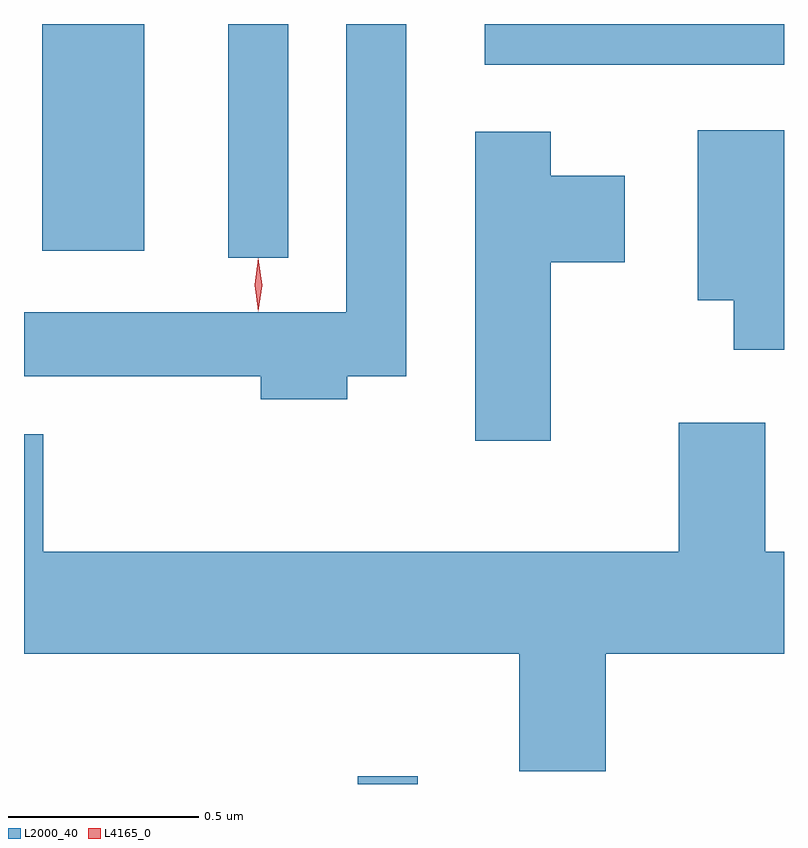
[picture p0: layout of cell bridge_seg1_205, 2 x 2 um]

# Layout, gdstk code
import gdstk
lib = gdstk.Library(unit=1e-6, precision=1e-09)
def R(c, l, rs):  # rectangles x0, y0, x1, y1
    for r in rs: c.add(gdstk.rectangle(r[:2], r[2:], *l))
def P(c, l, *ps):  # polygons
    for p in ps: c.add(gdstk.Polygon(p, *l))
L2000_40 = (2000, 40)
L4165_0 = (4165, 0)

bridge_seg1_205 = lib.new_cell('bridge_seg1_205')
R(bridge_seg1_205, L2000_40, [(798.846,961.393,799.004,961.413), (798.506,962.778,798.664,963.393), (798.016,962.796,798.284,963.393), (799.181,963.286,799.968,963.393)])
P(bridge_seg1_205, L2000_40, [(798.819,962.466),(798.974,962.466),(798.974,963.393),(798.816,963.393),(798.816,962.634),(797.968,962.634),(797.968,962.466),(798.591,962.466),(798.591,962.406),(798.819,962.406)],
  [(799.968,963.114),(799.741,963.114),(799.741,962.666),(799.836,962.666),(799.836,962.536),(799.968,962.536)],
  [(799.354,962.766),(799.549,962.766),(799.549,962.994),(799.354,962.994),(799.354,963.109),(799.156,963.109),(799.156,962.296),(799.354,962.296)],
  [(799.499,961.736),(799.968,961.736),(799.968,962.004),(799.919,962.004),(799.919,962.344),(799.691,962.344),(799.691,962.004),(798.019,962.004),(798.019,962.314),(797.968,962.314),(797.968,961.736),(799.271,961.736),(799.271,961.426),(799.499,961.426)])
P(bridge_seg1_205, L4165_0, [(798.585,962.639),(798.584,962.64),(798.575,962.706),(798.584,962.772),(798.585,962.773),(798.585,962.772),(798.595,962.706),(798.585,962.64)],
  [(798.584,962.637),(798.575,962.707),(798.584,962.776),(798.585,962.776),(798.585,962.776),(798.595,962.706),(798.585,962.637),(798.585,962.637)])

lib.write_gds('bridge_seg1_205.gds')
